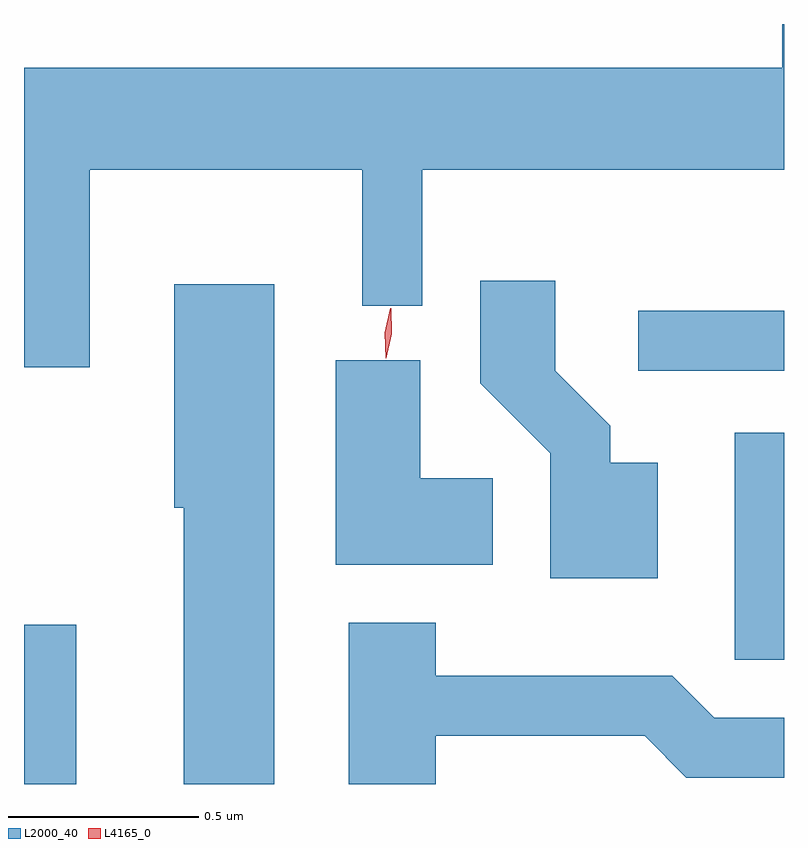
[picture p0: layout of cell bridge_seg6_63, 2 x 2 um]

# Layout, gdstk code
import gdstk
lib = gdstk.Library(unit=1e-6, precision=1e-09)
def R(c, l, rs):  # rectangles x0, y0, x1, y1
    for r in rs: c.add(gdstk.rectangle(r[:2], r[2:], *l))
def P(c, l, *ps):  # polygons
    for p in ps: c.add(gdstk.Polygon(p, *l))
L2000_40 = (2000, 40)
L4165_0 = (4165, 0)

bridge_seg6_63 = lib.new_cell('bridge_seg6_63')
R(bridge_seg6_63, L2000_40, [(1402.536,1608.359,1402.674,1608.778), (1404.406,1608.686,1404.536,1609.284), (1404.153,1609.446,1404.536,1609.604)])
P(bridge_seg6_63, L2000_40, [(1402.709,1609.976),(1403.426,1609.976),(1403.426,1609.618),(1403.584,1609.618),(1403.584,1609.976),(1404.536,1609.976),(1404.536,1610.359),(1404.531,1610.359),(1404.531,1610.244),(1402.536,1610.244),(1402.536,1609.456),(1402.709,1609.456)],
  [(1404.204,1609.204),(1404.079,1609.204),(1404.079,1609.302),(1403.934,1609.447),(1403.934,1609.684),(1403.736,1609.684),(1403.736,1609.414),(1403.921,1609.229),(1403.921,1608.901),(1404.204,1608.901)],
  [(1403.194,1609.674),(1402.931,1609.674),(1402.931,1609.086),(1402.956,1609.086),(1402.956,1608.359),(1403.194,1608.359)],
  [(1403.769,1609.164),(1403.579,1609.164),(1403.579,1609.474),(1403.356,1609.474),(1403.356,1608.936),(1403.769,1608.936)],
  [(1403.619,1608.486),(1404.169,1608.486),(1404.279,1608.376),(1404.536,1608.376),(1404.536,1608.534),(1404.352,1608.534),(1404.242,1608.644),(1403.619,1608.644),(1403.619,1608.784),(1403.391,1608.784),(1403.391,1608.359),(1403.619,1608.359)])
P(bridge_seg6_63, L4165_0, [(1403.488,1609.479),(1403.488,1609.48),(1403.485,1609.546),(1403.5,1609.611),(1403.501,1609.611),(1403.502,1609.611),(1403.504,1609.544),(1403.489,1609.48)])

lib.write_gds('bridge_seg6_63.gds')
